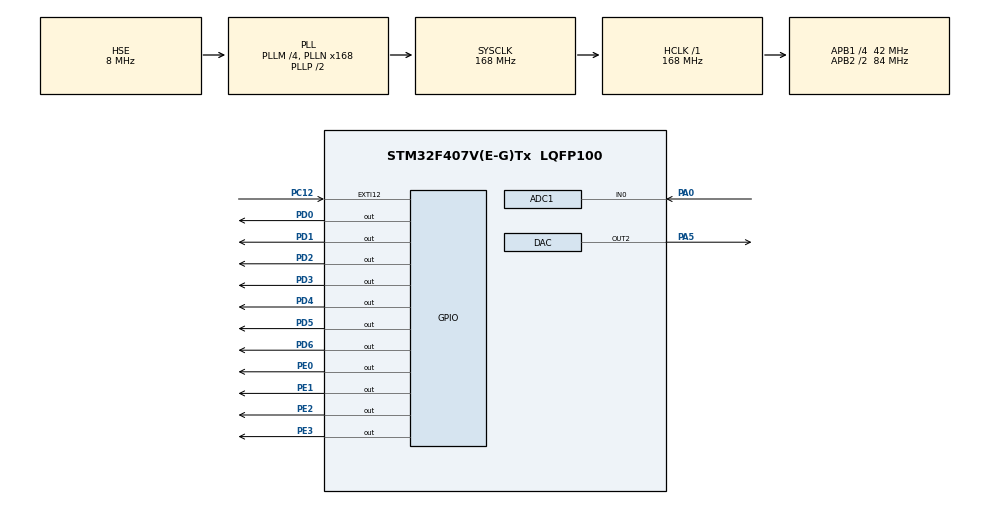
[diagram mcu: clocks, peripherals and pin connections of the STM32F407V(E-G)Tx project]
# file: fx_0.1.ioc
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ADC1.Channel-0\#ChannelRegularConversion=ADC_CHANNEL_0
ADC1.ContinuousConvMode=DISABLE
ADC1.DMAContinuousRequests=ENABLE
ADC1.ExternalTrigConv=ADC_EXTERNALTRIGCONV_T3_TRGO
ADC1.InjNumberOfConversion=0
ADC1.NbrOfConversion=1
ADC1.NbrOfConversionFlag=1
ADC1.Rank-0\#ChannelRegularConversion=1
ADC1.SamplingTime-0\#ChannelRegularConversion=ADC_SAMPLETIME_3CYCLES
ADC1.ScanConvMode=DISABLE
ADC1.master=1
DAC.DAC_Trigger2=DAC_TRIGGER_T2_TRGO
Dma.ADC1.0.Direction=DMA_PERIPH_TO_MEMORY
Dma.ADC1.0.FIFOMode=DMA_FIFOMODE_DISABLE
Dma.ADC1.0.Instance=DMA2_Stream0
Dma.ADC1.0.MemDataAlignment=DMA_MDATAALIGN_HALFWORD
Dma.ADC1.0.MemInc=DMA_MINC_ENABLE
Dma.ADC1.0.Mode=DMA_CIRCULAR
Dma.ADC1.0.PeriphDataAlignment=DMA_PDATAALIGN_HALFWORD
Dma.ADC1.0.PeriphInc=DMA_PINC_DISABLE
Dma.ADC1.0.Priority=DMA_PRIORITY_LOW
Dma.DAC2.1.Direction=DMA_MEMORY_TO_PERIPH
Dma.DAC2.1.FIFOMode=DMA_FIFOMODE_DISABLE
Dma.DAC2.1.Instance=DMA1_Stream6
Dma.DAC2.1.MemDataAlignment=DMA_MDATAALIGN_HALFWORD
Dma.DAC2.1.MemInc=DMA_MINC_ENABLE
Dma.DAC2.1.Mode=DMA_CIRCULAR
Dma.DAC2.1.PeriphDataAlignment=DMA_PDATAALIGN_HALFWORD
Dma.DAC2.1.PeriphInc=DMA_PINC_DISABLE
Dma.DAC2.1.Priority=DMA_PRIORITY_LOW
Dma.Request0=ADC1
Dma.Request1=DAC2
Mcu.Family=STM32F4
Mcu.Name=STM32F407V(E-G)Tx
Mcu.Package=LQFP100
NVIC.ADC_IRQn=true\:0\:0\:false\:false\:true\:true\:true\:true
NVIC.DMA1_Stream6_IRQn=true\:0\:0\:false\:false\:true\:false\:true\:true
NVIC.DMA2_Stream0_IRQn=true\:0\:0\:false\:false\:true\:false\:true\:true
NVIC.EXTI15_10_IRQn=true\:0\:0\:false\:false\:true\:true\:true\:true
NVIC.PriorityGroup=NVIC_PRIORITYGROUP_4
NVIC.TIM2_IRQn=true\:0\:0\:false\:false\:true\:true\:true\:true
NVIC.TIM3_IRQn=true\:0\:0\:false\:false\:true\:true\:true\:true
NVIC.TIM6_DAC_IRQn=true\:0\:0\:false\:false\:true\:true\:true\:true
PA0-WKUP.Signal=ADCx_IN0
PA13.Mode=Serial_Wire
PA13.Signal=SYS_JTMS-SWDIO
PA14.Mode=Serial_Wire
PA14.Signal=SYS_JTCK-SWCLK
PA5.Signal=COMP_DAC2_group
PC12.GPIO_ModeDefaultEXTI=GPIO_MODE_IT_FALLING
PC12.Signal=GPXTI12
PD0.Signal=GPIO_Output
PD1.Signal=GPIO_Output
PD2.Signal=GPIO_Output
PD3.Signal=GPIO_Output
PD4.Signal=GPIO_Output
PD5.Signal=GPIO_Output
PD6.Signal=GPIO_Output
PE0.Signal=GPIO_Output
PE1.Signal=GPIO_Output
PE2.Signal=GPIO_Output
PE3.Signal=GPIO_Output
PH0-OSC_IN.Mode=HSE-External-Oscillator
PH0-OSC_IN.Signal=RCC_OSC_IN
PH1-OSC_OUT.Mode=HSE-External-Oscillator
PH1-OSC_OUT.Signal=RCC_OSC_OUT
ProjectManager.HeapSize=0x200
ProjectManager.StackSize=0x400
ProjectManager.TargetToolchain=STM32CubeIDE
RCC.48MHZClocksFreq_Value=84000000
RCC.AHBFreq_Value=168000000
RCC.APB1CLKDivider=RCC_HCLK_DIV4
RCC.APB1Freq_Value=42000000
RCC.APB1TimFreq_Value=84000000
RCC.APB2CLKDivider=RCC_HCLK_DIV2
RCC.APB2Freq_Value=84000000
RCC.APB2TimFreq_Value=168000000
RCC.CortexFreq_Value=168000000
RCC.HCLKFreq_Value=168000000
RCC.HSE_VALUE=8000000
RCC.HSI_VALUE=16000000
RCC.LSE_VALUE=32768
RCC.PLLM=4
RCC.PLLN=168
RCC.PLLSourceVirtual=RCC_PLLSOURCE_HSE
RCC.SYSCLKFreq_VALUE=168000000
RCC.SYSCLKSource=RCC_SYSCLKSOURCE_PLLCLK
RCC.VCOOutputFreq_Value=336000000
SH.ADCx_IN0.0=ADC1_IN0,IN0
SH.COMP_DAC2_group.0=DAC_OUT2,DAC_OUT2
TIM2.AutoReloadPreload=TIM_AUTORELOAD_PRELOAD_ENABLE
TIM2.Period=19
TIM2.Prescaler=83
TIM2.TIM_MasterOutputTrigger=TIM_TRGO_UPDATE
TIM3.AutoReloadPreload=TIM_AUTORELOAD_PRELOAD_ENABLE
TIM3.ClockDivision=TIM_CLOCKDIVISION_DIV2
TIM3.Period=19
TIM3.Prescaler=83
TIM3.TIM_MasterOutputTrigger=TIM_TRGO_UPDATE
VP_TIM2_VS_ClockSourceINT.Mode=Internal
VP_TIM3_VS_ClockSourceINT.Mode=Internal
board=custom

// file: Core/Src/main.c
/* USER CODE BEGIN Header */
/**
  ******************************************************************************
  * @file           : main.c
  * @brief          : Main program body
  ******************************************************************************
  * @attention
  *
  * Copyright (c) 2024 STMicroelectronics.
  * All rights reserved.
  *
  * This software is licensed under terms that can be found in the LICENSE file
  * in the root directory of this software component.
  * If no LICENSE file comes with this software, it is provided AS-IS.
  *
  ******************************************************************************
  */
/* USER CODE END Header */
#include "main.h"

/* USER CODE BEGIN Includes */
//#define ARM_MATH_CM4
//#include "arm_math.h"
/* USER CODE END Includes */

/* USER CODE BEGIN PD */
#define BUFSIZE 4096
#define ADC_CENT_VAL 2048

/* USER CODE END PD */

ADC_HandleTypeDef hadc1;
DMA_HandleTypeDef hdma_adc1;

DAC_HandleTypeDef hdac;
DMA_HandleTypeDef hdma_dac2;

TIM_HandleTypeDef htim2;
TIM_HandleTypeDef htim3;

/* USER CODE BEGIN PV */

uint16_t in_1[BUFSIZE],  out_1[BUFSIZE],  input_1, in_calc[BUFSIZE/2], out_calc[BUFSIZE/2], distortion_level=0;

char disp_txt[4];

/* USER CODE END PV */

void SystemClock_Config(void);
static void MX_GPIO_Init(void);
static void MX_DMA_Init(void);
static void MX_ADC1_Init(void);
static void MX_TIM3_Init(void);
static void MX_DAC_Init(void);
static void MX_TIM2_Init(void);
/* USER CODE BEGIN PFP */
void rectangle(uint16_t* input, uint16_t* output, uint16_t b_size, uint16_t drive_level);
void set_character(char symbol);
void set_position(uint8_t pos_number);
void write_display(char text[]);
/* USER CODE END PFP */

int main(void)
{

  /* MCU Configuration--------------------------------------------------------*/

  /* Reset of all peripherals, Initializes the Flash interface and the Systick. */
  HAL_Init();

  /* Configure the system clock */
  SystemClock_Config();

  /* Initialize all configured peripherals */
  MX_GPIO_Init();
  MX_DMA_Init();
  MX_ADC1_Init();
  MX_TIM3_Init();
  MX_DAC_Init();
  MX_TIM2_Init();
  /* USER CODE BEGIN 2 */

  HAL_TIM_Base_Start(&htim3);
  HAL_TIM_Base_Start(&htim2);
  HAL_ADC_Start_DMA(&hadc1, (uint32_t *)in_1, BUFSIZE);
  HAL_DAC_Start_DMA(&hdac, DAC_CHANNEL_2, (uint32_t *)out_1, BUFSIZE, DAC_ALIGN_12B_R);

  /* USER CODE END 2 */

  /* Infinite loop */
  /* USER CODE BEGIN WHILE */
  while (1)
  {

	 sprintf(disp_txt, "%d", distortion_level);
	 write_display(disp_txt);

    /* USER CODE END WHILE */

  }
}

void SystemClock_Config(void)
{
  RCC_OscInitTypeDef RCC_OscInitStruct = {0};
  RCC_ClkInitTypeDef RCC_ClkInitStruct = {0};

  /** Configure the main internal regulator output voltage
  */
  __HAL_RCC_PWR_CLK_ENABLE();
  __HAL_PWR_VOLTAGESCALING_CONFIG(PWR_REGULATOR_VOLTAGE_SCALE1);

  /** Initializes the RCC Oscillators according to the specified parameters
  * in the RCC_OscInitTypeDef structure.
  */
  RCC_OscInitStruct.OscillatorType = RCC_OSCILLATORTYPE_HSE;
  RCC_OscInitStruct.HSEState = RCC_HSE_ON;
  RCC_OscInitStruct.PLL.PLLState = RCC_PLL_ON;
  RCC_OscInitStruct.PLL.PLLSource = RCC_PLLSOURCE_HSE;
  RCC_OscInitStruct.PLL.PLLM = 4;
  RCC_OscInitStruct.PLL.PLLN = 168;
  RCC_OscInitStruct.PLL.PLLP = RCC_PLLP_DIV2;
  RCC_OscInitStruct.PLL.PLLQ = 4;
  if (HAL_RCC_OscConfig(&RCC_OscInitStruct) != HAL_OK)
  {
    Error_Handler();
  }

  /** Initializes the CPU, AHB and APB buses clocks
  */
  RCC_ClkInitStruct.ClockType = RCC_CLOCKTYPE_HCLK|RCC_CLOCKTYPE_SYSCLK
                              |RCC_CLOCKTYPE_PCLK1|RCC_CLOCKTYPE_PCLK2;
  RCC_ClkInitStruct.SYSCLKSource = RCC_SYSCLKSOURCE_PLLCLK;
  RCC_ClkInitStruct.AHBCLKDivider = RCC_SYSCLK_DIV1;
  RCC_ClkInitStruct.APB1CLKDivider = RCC_HCLK_DIV4;
  RCC_ClkInitStruct.APB2CLKDivider = RCC_HCLK_DIV2;

  if (HAL_RCC_ClockConfig(&RCC_ClkInitStruct, FLASH_LATENCY_5) != HAL_OK)
  {
    Error_Handler();
  }
}

static void MX_ADC1_Init(void)
{

  ADC_ChannelConfTypeDef sConfig = {0};

  /** Configure the global features of the ADC (Clock, Resolution, Data Alignment and number of conversion)
  */
  hadc1.Instance = ADC1;
  hadc1.Init.ClockPrescaler = ADC_CLOCK_SYNC_PCLK_DIV4;
  hadc1.Init.Resolution = ADC_RESOLUTION_12B;
  hadc1.Init.ScanConvMode = DISABLE;
  hadc1.Init.ContinuousConvMode = DISABLE;
  hadc1.Init.DiscontinuousConvMode = DISABLE;
  hadc1.Init.ExternalTrigConvEdge = ADC_EXTERNALTRIGCONVEDGE_RISING;
  hadc1.Init.ExternalTrigConv = ADC_EXTERNALTRIGCONV_T3_TRGO;
  hadc1.Init.DataAlign = ADC_DATAALIGN_RIGHT;
  hadc1.Init.NbrOfConversion = 1;
  hadc1.Init.DMAContinuousRequests = ENABLE;
  hadc1.Init.EOCSelection = ADC_EOC_SINGLE_CONV;
  if (HAL_ADC_Init(&hadc1) != HAL_OK)
  {
    Error_Handler();
  }

  /** Configure for the selected ADC regular channel its corresponding rank in the sequencer and its sample time.
  */
  sConfig.Channel = ADC_CHANNEL_0;
  sConfig.Rank = 1;
  sConfig.SamplingTime = ADC_SAMPLETIME_3CYCLES;
  if (HAL_ADC_ConfigChannel(&hadc1, &sConfig) != HAL_OK)
  {
    Error_Handler();
  }

}

static void MX_DAC_Init(void)
{

  DAC_ChannelConfTypeDef sConfig = {0};

  /** DAC Initialization
  */
  hdac.Instance = DAC;
  if (HAL_DAC_Init(&hdac) != HAL_OK)
  {
    Error_Handler();
  }

  /** DAC channel OUT2 config
  */
  sConfig.DAC_Trigger = DAC_TRIGGER_T2_TRGO;
  sConfig.DAC_OutputBuffer = DAC_OUTPUTBUFFER_ENABLE;
  if (HAL_DAC_ConfigChannel(&hdac, &sConfig, DAC_CHANNEL_2) != HAL_OK)
  {
    Error_Handler();
  }

}

static void MX_TIM2_Init(void)
{

  TIM_ClockConfigTypeDef sClockSourceConfig = {0};
  TIM_MasterConfigTypeDef sMasterConfig = {0};

  htim2.Instance = TIM2;
  htim2.Init.Prescaler = 83;
  htim2.Init.CounterMode = TIM_COUNTERMODE_UP;
  htim2.Init.Period = 19;
  htim2.Init.ClockDivision = TIM_CLOCKDIVISION_DIV1;
  htim2.Init.AutoReloadPreload = TIM_AUTORELOAD_PRELOAD_ENABLE;
  if (HAL_TIM_Base_Init(&htim2) != HAL_OK)
  {
    Error_Handler();
  }
  sClockSourceConfig.ClockSource = TIM_CLOCKSOURCE_INTERNAL;
  if (HAL_TIM_ConfigClockSource(&htim2, &sClockSourceConfig) != HAL_OK)
  {
    Error_Handler();
  }
  sMasterConfig.MasterOutputTrigger = TIM_TRGO_UPDATE;
  sMasterConfig.MasterSlaveMode = TIM_MASTERSLAVEMODE_DISABLE;
  if (HAL_TIMEx_MasterConfigSynchronization(&htim2, &sMasterConfig) != HAL_OK)
  {
    Error_Handler();
  }

}

static void MX_TIM3_Init(void)
{

  TIM_ClockConfigTypeDef sClockSourceConfig = {0};
  TIM_MasterConfigTypeDef sMasterConfig = {0};

  htim3.Instance = TIM3;
  htim3.Init.Prescaler = 83;
  htim3.Init.CounterMode = TIM_COUNTERMODE_UP;
  htim3.Init.Period = 19;
  htim3.Init.ClockDivision = TIM_CLOCKDIVISION_DIV2;
  htim3.Init.AutoReloadPreload = TIM_AUTORELOAD_PRELOAD_ENABLE;
  if (HAL_TIM_Base_Init(&htim3) != HAL_OK)
  {
    Error_Handler();
  }
  sClockSourceConfig.ClockSource = TIM_CLOCKSOURCE_INTERNAL;
  if (HAL_TIM_ConfigClockSource(&htim3, &sClockSourceConfig) != HAL_OK)
  {
    Error_Handler();
  }
  sMasterConfig.MasterOutputTrigger = TIM_TRGO_UPDATE;
  sMasterConfig.MasterSlaveMode = TIM_MASTERSLAVEMODE_DISABLE;
  if (HAL_TIMEx_MasterConfigSynchronization(&htim3, &sMasterConfig) != HAL_OK)
  {
    Error_Handler();
  }

}

static void MX_DMA_Init(void)
{

  /* DMA controller clock enable */
  __HAL_RCC_DMA2_CLK_ENABLE();
  __HAL_RCC_DMA1_CLK_ENABLE();

  /* DMA interrupt init */
  /* DMA1_Stream6_IRQn interrupt configuration */
  HAL_NVIC_SetPriority(DMA1_Stream6_IRQn, 0, 0);
  HAL_NVIC_EnableIRQ(DMA1_Stream6_IRQn);
  /* DMA2_Stream0_IRQn interrupt configuration */
  HAL_NVIC_SetPriority(DMA2_Stream0_IRQn, 0, 0);
  HAL_NVIC_EnableIRQ(DMA2_Stream0_IRQn);

}

static void MX_GPIO_Init(void)
{
  GPIO_InitTypeDef GPIO_InitStruct = {0};

  /* GPIO Ports Clock Enable */
  __HAL_RCC_GPIOE_CLK_ENABLE();
  __HAL_RCC_GPIOH_CLK_ENABLE();
  __HAL_RCC_GPIOA_CLK_ENABLE();
  __HAL_RCC_GPIOC_CLK_ENABLE();
  __HAL_RCC_GPIOD_CLK_ENABLE();

  /*Configure GPIO pin Output Level */
  HAL_GPIO_WritePin(GPIOE, GPIO_PIN_2|GPIO_PIN_3|GPIO_PIN_0|GPIO_PIN_1, GPIO_PIN_RESET);

  /*Configure GPIO pin Output Level */
  HAL_GPIO_WritePin(GPIOD, GPIO_PIN_0|GPIO_PIN_1|GPIO_PIN_2|GPIO_PIN_3
                          |GPIO_PIN_4|GPIO_PIN_5|GPIO_PIN_6, GPIO_PIN_RESET);

  /*Configure GPIO pins : PE2 PE3 PE0 PE1 */
  GPIO_InitStruct.Pin = GPIO_PIN_2|GPIO_PIN_3|GPIO_PIN_0|GPIO_PIN_1;
  GPIO_InitStruct.Mode = GPIO_MODE_OUTPUT_PP;
  GPIO_InitStruct.Pull = GPIO_NOPULL;
  GPIO_InitStruct.Speed = GPIO_SPEED_FREQ_LOW;
  HAL_GPIO_Init(GPIOE, &GPIO_InitStruct);

  /*Configure GPIO pin : PC12 */
  GPIO_InitStruct.Pin = GPIO_PIN_12;
  GPIO_InitStruct.Mode = GPIO_MODE_IT_FALLING;
  GPIO_InitStruct.Pull = GPIO_NOPULL;
  HAL_GPIO_Init(GPIOC, &GPIO_InitStruct);

  /*Configure GPIO pins : PD0 PD1 PD2 PD3
                           PD4 PD5 PD6 */
  GPIO_InitStruct.Pin = GPIO_PIN_0|GPIO_PIN_1|GPIO_PIN_2|GPIO_PIN_3
                          |GPIO_PIN_4|GPIO_PIN_5|GPIO_PIN_6;
  GPIO_InitStruct.Mode = GPIO_MODE_OUTPUT_PP;
  GPIO_InitStruct.Pull = GPIO_NOPULL;
  GPIO_InitStruct.Speed = GPIO_SPEED_FREQ_LOW;
  HAL_GPIO_Init(GPIOD, &GPIO_InitStruct);

  /* EXTI interrupt init*/
  HAL_NVIC_SetPriority(EXTI15_10_IRQn, 0, 0);
  HAL_NVIC_EnableIRQ(EXTI15_10_IRQn);

}

/* USER CODE BEGIN 4 */

void HAL_ADC_ConvHalfCpltCallback(ADC_HandleTypeDef* hadc){

	rectangle((uint16_t*) in_1, (uint16_t*) out_1, BUFSIZE/2, distortion_level);

}

void HAL_ADC_ConvCpltCallback(ADC_HandleTypeDef* hadc)
{

	rectangle((uint16_t*) (in_1+BUFSIZE/2), (uint16_t*) (out_1+BUFSIZE/2), BUFSIZE/2, distortion_level);

}

//void HAL_DACEx_ConvHalfCpltCallbackCh2(DAC_HandleTypeDef *hdac){

//}

//void HAL_DACEx_ConvCpltCallbackCh2(DAC_HandleTypeDef *hdac){

//}

void HAL_GPIO_EXTI_Callback(uint16_t GPIO_Pin){

	if(GPIO_Pin == GPIO_PIN_12){

		if(distortion_level<(2000-100)){
			distortion_level+=100;
		}else{
			distortion_level=0;
		}
	}

}

void rectangle(uint16_t* input, uint16_t* output, uint16_t b_size, uint16_t drive_level){

	uint16_t min, max, i=0, drive=drive_level;

	max=min=input[i];

	for(; i<b_size; i++){

		if(input[i]>max){
			max=input[i];
		}

		if(input[i]<min){
			min=input[i];
		}

	}

	for(uint16_t j=0; j<b_size; j++){

		if(input[j]>(ADC_CENT_VAL+drive)){
			output[j]=max;
		}else if(input[j]<(ADC_CENT_VAL-drive)){
			output[j]=min;
		}else{
			output[j]=input[j];
		}

	}

}

void set_character(char symbol){

	switch(symbol){
	case '0': GPIOD->ODR=0x003F;	break;
	case '1': GPIOD->ODR=0x0006;    break;
	case '2': GPIOD->ODR=0x005B;	break;
	case '3': GPIOD->ODR=0x004F;	break;
	case '4': GPIOD->ODR=0x0066;	break;
	case '5': GPIOD->ODR=0x006D;	break;
	case '6': GPIOD->ODR=0x007D;	break;
	case '7': GPIOD->ODR=0x0007;	break;
	case '8': GPIOD->ODR=0x007F;	break;
	case '9': GPIOD->ODR=0x006F;	break;
	case 'A': GPIOD->ODR=0x0077;	break;
	case 'B': GPIOD->ODR=0x007C;	break;
	case 'C': GPIOD->ODR=0x0039;	break;
	case 'D': GPIOD->ODR=0x005E;	break;
	case 'E': GPIOD->ODR=0x0079;	break;
	case 'F': GPIOD->ODR=0x0071;	break;
	default:	break;
	}

}

void set_position(uint8_t pos_number){

	switch(pos_number){
	case 0: GPIOE->ODR=0x0001; break;
	case 1:	GPIOE->ODR=0x0002; break;
	case 2:	GPIOE->ODR=0x0004; break;
	case 3:	GPIOE->ODR=0x0008; break;
	default: ; break;
	}

}

void write_display(char text[]){

	for(int i=0; ;i++){
		if(text[i]=='\0'){
			break;
		}
		set_character(text[i]);
		set_position(i);
		HAL_Delay(1);

	}

}

/* USER CODE END 4 */

void Error_Handler(void)
{
  __disable_irq();
  while (1)
  {
  }
}
